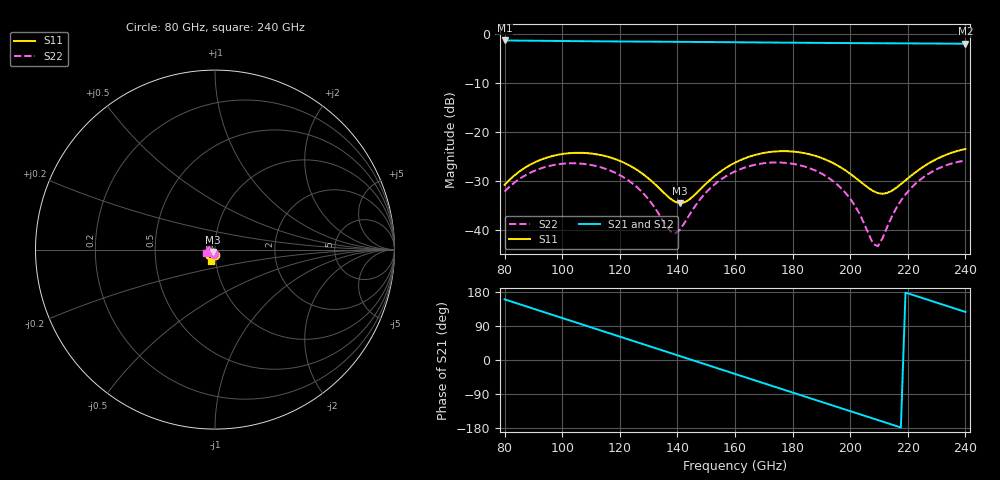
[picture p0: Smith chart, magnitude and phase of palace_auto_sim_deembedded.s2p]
! Created with skrf 1.11.0 (http://scikit-rf.org).
# GHz S DB R 50.0
!freq dBS11 angS11 dBS21 angS21 dBS12 angS12 dBS22 angS22
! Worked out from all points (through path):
!   101 points, 80 GHz to 240 GHz, reference 50 ohm
!   highest |S21| = -1.27 dB at 80 GHz (marker M1); lowest = -1.9 dB at 240 GHz (marker M2)
!   group delay of S21, straight-line fit = 6.83 ps
!   lowest |S11| = -34.5 dB at 140.8 GHz (marker M3), VSWR 1.04, Z = 48.7 - j1.36 ohm
!   |S11| at or under -10 dB: start of sweep to end of sweep
!   |S22| runs from -43.3 to -25.8 dB; largest |S21 - S12| = 9.4e-14
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80  -30.76 -88.8  -1.27 160.1  -1.27 160.1  -32.12 -100.8
86.4  -27.50 -94.9  -1.31 144.3  -1.31 144.3  -29.08 -110.7
94.4  -25.24 -108.5  -1.35 124.6  -1.35 124.6  -27.06 -127.8
107.2  -24.23 -132.8  -1.42 93.1  -1.42 93.1  -26.46 -157.3
115.2  -24.91 -147.2  -1.46 73.5  -1.46 73.5  -27.51 -175.1
123.2  -26.74 -159.0  -1.49 53.8  -1.49 53.8  -29.93 169.6
129.6  -29.26 -163.4  -1.51 38.1  -1.51 38.1  -33.43 162.6
134.4  -31.85 -159.3  -1.53 26.3  -1.53 26.3  -37.50 169.0
137.6  -33.59 -149.3  -1.54 18.4  -1.54 18.4  -40.26 -170.4
140.8  -34.50 -132.3  -1.56 10.5  -1.56 10.5  -39.96 -138.3
150.4  -30.26 -98.4  -1.59 -13.1  -1.59 -13.1  -32.02 -116.4
160  -26.22 -102.8  -1.64 -36.8  -1.64 -36.8  -28.02 -131.6
174.4  -23.92 -124.3  -1.70 -72.1  -1.70 -72.1  -26.18 -162.8
187.2  -24.71 -144.3  -1.76 -103.5  -1.76 -103.5  -27.65 168.7
198.4  -27.82 -154.4  -1.80 -131.0  -1.80 -131.0  -32.41 148.5
203.2  -29.94 -151.7  -1.82 -142.8  -1.82 -142.8  -36.62 147.5
208  -32.02 -139.1  -1.83 -154.5  -1.83 -154.5  -42.82 177.9
209.6  -32.44 -132.3  -1.84 -158.5  -1.84 -158.5  -43.27 -156.6
214.4  -31.98 -110.3  -1.85 -170.3  -1.85 -170.3  -37.30 -117.4
219.2  -29.82 -97.4  -1.87 178.0  -1.87 178.0  -32.71 -116.6
224  -27.61 -94.2  -1.88 166.2  -1.88 166.2  -29.84 -123.5
240  -23.43 -109.0  -1.94 126.9  -1.94 126.9  -25.79 -157.9
